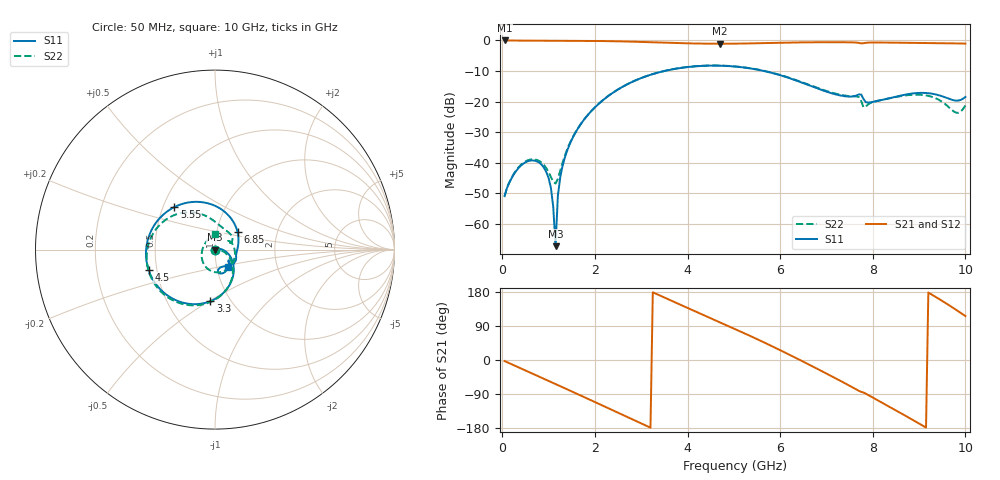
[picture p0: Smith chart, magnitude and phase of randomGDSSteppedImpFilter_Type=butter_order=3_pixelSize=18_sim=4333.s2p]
! freq	dB(S11)	phase(S11)	dB(S12)	phase(S12)
!  dB(S21)	phase(S21)	dB(S22)	phase(S22)
!S-par simulation data
#  GHz  S  DB  R 50
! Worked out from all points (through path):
!   200 points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, 50 MHz to 10 GHz, reference 50 ohm
!   highest |S21| = -0.02 dB at 50 MHz (marker M1); lowest = -1.1 dB at 4.7 GHz (marker M2)
!   group delay of S21, straight-line fit = 164 ps
!   lowest |S11| = -67.3 dB at 1.15 GHz (marker M3), VSWR 1.00, Z = 50 + j0.042 ohm
!   |S11| at or under -10 dB: start of sweep to 3.502 GHz; 5.648 GHz to end of sweep
!   |S22| runs from -50.9 to -8.2 dB; largest |S21 - S12| = 0
!   S11 on the Smith chart (normalised r, x): 50 MHz: 1.00, -0.00; 3.3 GHz: 0.81, -0.51; 4.5 GHz: 0.45, -0.12; 5.55 GHz: 0.57, +0.30; 6.85 GHz: 1.26, +0.25; 10 GHz: 1.13, -0.22
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0.05  -50.95 -30.7  -0.02 -2.8  -0.02 -2.8  -50.93 -31.1
0.4  -40.98 -92.2  -0.06 -22.1  -0.06 -22.1  -40.72 -87.9
0.85  -40.68 -128.3  -0.09 -46.9  -0.09 -46.9  -40.00 -111.9
1.05  -48.22 -143.8  -0.10 -57.9  -0.10 -57.9  -44.69 -98.3
1.15  -67.29 76.7  -0.10 -63.5  -0.10 -63.5  -46.80 -58.5
1.2  -50.83 33.6  -0.11 -66.2  -0.11 -66.2  -45.26 -34.2
1.3  -41.18 24.5  -0.11 -71.8  -0.11 -71.8  -40.04 -10.5
1.75  -26.23 -4.0  -0.15 -96.9  -0.15 -96.9  -26.17 -13.3
2.6  -15.15 -54.4  -0.33 -144.9  -0.33 -144.9  -15.13 -56.2
3.3  -10.79 -95.1  -0.64 175.9  -0.64 175.9  -10.77 -93.6
3.4  -10.38 -100.8  -0.69 170.3  -0.69 170.3  -10.36 -98.9
4.5  -8.25 -163.1  -1.08 110.5  -1.08 110.5  -8.22 -155.1
4.7  -8.27 -174.6  -1.09 99.7  -1.09 99.7  -8.23 -165.1
5.05  -8.59 164.8  -1.06 80.5  -1.06 80.5  -8.54 177.5
5.55  -9.69 133.7  -0.93 52.3  -0.93 52.3  -9.62 152.8
6.7  -15.13 49.7  -0.61 -16.9  -0.61 -16.9  -14.96 99.6
6.85  -15.97 37.6  -0.60 -26.3  -0.60 -26.3  -15.78 93.1
7.6  -18.24 -16.6  -0.67 -74.7  -0.67 -74.7  -18.28 48.7
7.8  -19.17 -43.8  -0.92 -85.8  -0.92 -85.8  -21.90 26.6
8.35  -18.95 -47.1  -0.72 -122.9  -0.72 -122.9  -18.96 -9.6
9.2  -17.26 -76.8  -0.88 178.0  -0.88 178.0  -18.14 -94.5
10  -18.49 -52.5  -1.05 115.9  -1.05 115.9  -21.28 91.5
